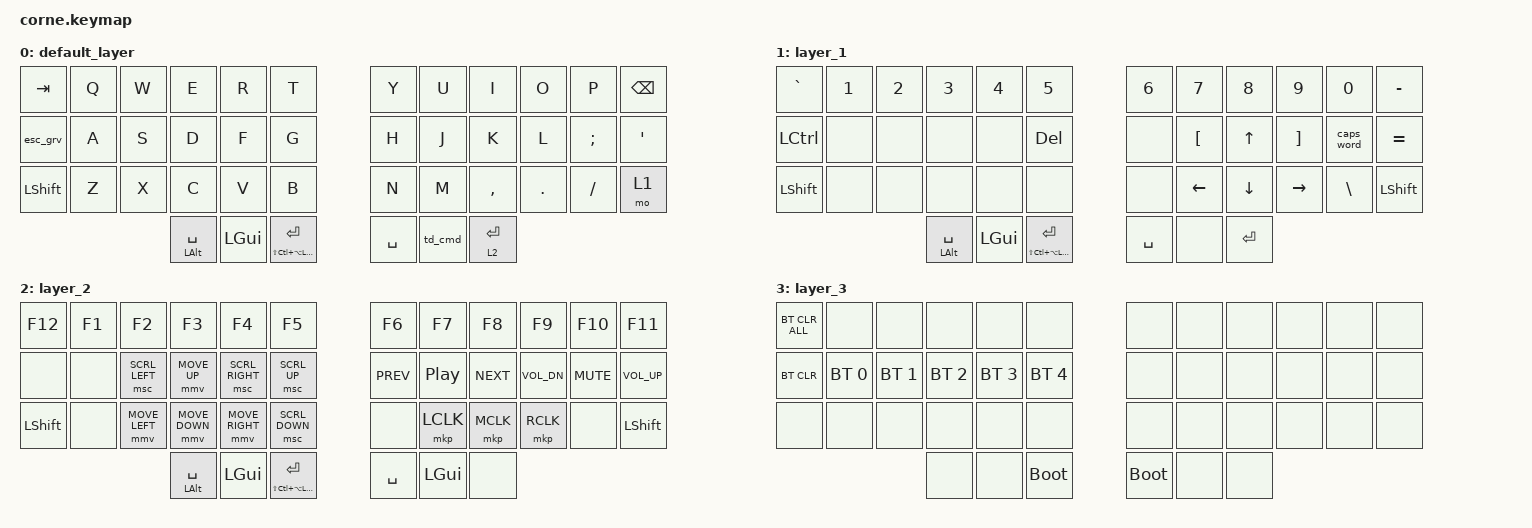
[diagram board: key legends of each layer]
#include <behaviors.dtsi>
#include <dt-bindings/zmk/keys.h>
#include <dt-bindings/zmk/bt.h>

#define ZMK_POINTING_DEFAULT_MOVE_VAL 1500  // default: 600
#define ZMK_POINTING_DEFAULT_SCRL_VAL 20    // default: 10
#include <dt-bindings/zmk/pointing.h>

#define x &none
#define HYPER LS(LC(LA(LGUI)))

&caps_word {
        continue-list = <UNDERSCORE MINUS BACKSPACE DELETE>;
};

/*
0                1               2               3               4               5                               6               7               8               9              10              11              
12              13              14              15              16              17                              18              19              20              21              22              23              
24              25              26              27              28              29                              30              31              32              33              34              35              
                                                36              37              38                              39              40              41              
*/
/ {
        combos {
                compatible = "zmk,combos";
                combo_cmd_grave {
                        timeout-ms = <40>;
                        key-positions = <0 37>;
                        bindings = <&kp LG(GRAVE)>;
                };
                combo_layer_3 {
                        timeout-ms = <40>;
                        key-positions = <36 41>;
                        bindings = <&mo 3>;
                };
        };
};

/ {
        behaviors {
                ht: hold_tap {
                        compatible = "zmk,behavior-hold-tap";
                        #binding-cells = <2>;
                        flavor = "hold-preferred";
                        tapping-term-ms = <200>;
                        quick-tap-ms = <200>;
                        require-prior-idle-ms = <150>;
                        bindings = <&kp>, <&kp>;
                };
                // should be identical to hold_tap except bindings
                htl: hold_tap_layer {
                        compatible = "zmk,behavior-hold-tap";
                        #binding-cells = <2>;
                        flavor = "hold-preferred";
                        tapping-term-ms = <200>;
                        quick-tap-ms = <200>;
                        require-prior-idle-ms = <150>;
                        bindings = <&mo>, <&kp>;
                };
                // tap for escape, hold for control, tap with modifiers for grave
                esc_grv: escape_grave {
                        compatible = "zmk,behavior-mod-morph";
                        #binding-cells = <0>;
                        bindings = <&ht LCTRL ESC>, <&kp GRAVE>;
                        mods = <(MOD_LGUI|MOD_LALT|MOD_LCTL|MOD_LSFT)>;
                        keep-mods = <(MOD_LGUI|MOD_LALT|MOD_LCTL|MOD_LSFT)>;
                };
                // 1 tap for layer 1, 2 taps for command
                td_cmd: tap_dance_cmd {
                        compatible = "zmk,behavior-tap-dance";
                        #binding-cells = <0>;
                        tapping-term-ms = <200>;
                        bindings = <&mo 1>, <&kp LGUI>;
                };
        };
        keymap {
                compatible = "zmk,keymap";
                default_layer {
                        bindings = <
&kp TAB         &kp Q           &kp W           &kp E           &kp R           &kp T                           &kp Y           &kp U           &kp I           &kp O           &kp P           &kp BSPC        
&esc_grv        &kp A           &kp S           &kp D           &kp F           &kp G                           &kp H           &kp J           &kp K           &kp L           &kp SEMI        &kp APOS         
&kp LSHFT       &kp Z           &kp X           &kp C           &kp V           &kp B                           &kp N           &kp M           &kp COMMA       &kp DOT         &kp FSLH        &mo 1
                                                &ht LALT SPACE  &kp LGUI        &ht HYPER RET                   &kp SPACE       &td_cmd         &htl 2 RET      
                        >;
                };
                layer_1 {
                        bindings = <
&kp GRAVE       &kp N1          &kp N2          &kp N3          &kp N4          &kp N5                          &kp N6          &kp N7          &kp N8          &kp N9          &kp N0          &kp MINUS       
&kp LCTRL       x               x               x               x               &kp DEL                         x               &kp LBKT        &kp UP          &kp RBKT        &caps_word      &kp EQUAL       
&kp LSHFT       x               x               x               x               x                               x               &kp LEFT        &kp DOWN        &kp RIGHT       &kp BSLH        &kp LSHFT       
                                                &ht LALT SPACE  &kp LGUI        &ht HYPER RET                   &kp SPACE       x               &kp RET          
                        >;
                };
                layer_2 {
                        bindings = <
&kp F12         &kp F1          &kp F2          &kp F3          &kp F4          &kp F5                          &kp F6          &kp F7          &kp F8          &kp F9          &kp F10         &kp F11         
x               x               &msc SCRL_LEFT  &mmv MOVE_UP    &msc SCRL_RIGHT &msc SCRL_UP                    &kp C_PREV      &kp C_PP        &kp C_NEXT      &kp C_VOL_DN    &kp C_MUTE      &kp C_VOL_UP    
&kp LSHFT       x               &mmv MOVE_LEFT  &mmv MOVE_DOWN  &mmv MOVE_RIGHT &msc SCRL_DOWN                  x               &mkp LCLK       &mkp MCLK       &mkp RCLK       x               &kp LSHFT    
                                                &ht LALT SPACE  &kp LGUI        &ht HYPER RET                   &kp SPACE       &kp LGUI        x               
                        >;
                };
                layer_3 {
                        bindings = <
&bt BT_CLR_ALL  x               x               x               x               x                               x               x               x               x               x               x
&bt BT_CLR      &bt BT_SEL 0    &bt BT_SEL 1    &bt BT_SEL 2    &bt BT_SEL 3    &bt BT_SEL 4                    x               x               x               x               x               x               
x               x               x               x               x               x                               x               x               x               x               x               x               
                                                x               x               &bootloader                     &bootloader     x               x               
                        >;
                };
        };
};
